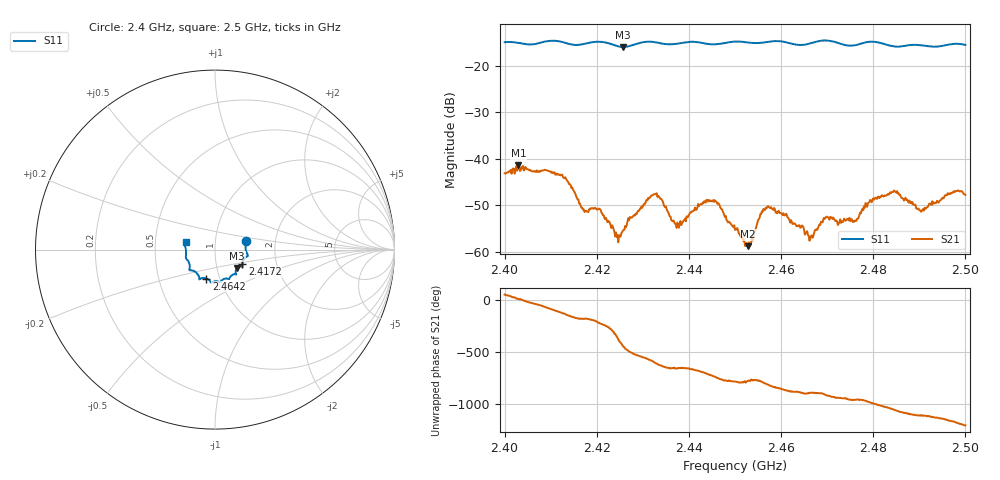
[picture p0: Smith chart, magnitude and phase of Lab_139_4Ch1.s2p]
# Hz S RI R 50
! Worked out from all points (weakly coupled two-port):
!   601 points, 2.4 GHz to 2.5 GHz, reference 50 ohm
!   highest |S21| = -41.40 dB at 2.403 GHz (marker M1); lowest = -58.8 dB at 2.4528 GHz (marker M2)
!   lowest |S11| = -15.9 dB at 2.4257 GHz (marker M3), VSWR 1.38, Z = 62.5 - j13.1 ohm
!   |S11| at or under -10 dB: start of sweep to end of sweep
!   S12 and S22 are empty: the file has one direction only
!   S11 on the Smith chart (normalised r, x): 2.4 GHz: 1.41, +0.14; 2.4172 GHz: 1.34, -0.22; 2.4642 GHz: 0.86, -0.29; 2.5 GHz: 0.72, +0.06
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2.4e9  0.1733 0.0491  0.00439 0.00542  0 0  0 0
2.403e9  0.1733 0.0338  0.00843 0.00115  0 0  0 0
2.412667e9  0.176 -0.0394  -0.00402 -0.0049  0 0  0 0
2.416667e9  0.153 -0.0748  -0.00298 4.62e-05  0 0  0 0
2.417167e9  0.1522 -0.0804  -0.00285 0.00014  0 0  0 0
2.420333e9  0.1543 -0.0972  -0.00226 0.00177  0 0  0 0
2.424333e9  0.1335 -0.0952  0.00143 0.000187  0 0  0 0
2.425667e9  0.1229 -0.1023  0.000246 -0.00165  0 0  0 0
2.433333e9  0.1127 -0.137  -0.000668 0.00392  0 0  0 0
2.437333e9  0.0854 -0.1505  0.000835 0.0016  0 0  0 0
2.444333e9  0.0608 -0.1609  0.00357 0.000314  0 0  0 0
2.45e9  0.0293 -0.1807  0.00078 -0.00154  0 0  0 0
2.452833e9  0.0182 -0.1778  0.000644 -0.000946  0 0  0 0
2.457167e9  -0.0145 -0.1812  -0.000106 -0.00309  0 0  0 0
2.464167e9  -0.0478 -0.1614  -0.00177 -0.000364  0 0  0 0
2.466667e9  -0.076 -0.1596  -0.00147 -0.000262  0 0  0 0
2.469667e9  -0.0878 -0.1663  -0.00229 0.000492  0 0  0 0
2.476e9  -0.1161 -0.1197  -0.00114 0.00184  0 0  0 0
2.478833e9  -0.1397 -0.1153  -0.000813 0.00321  0 0  0 0
2.483333e9  -0.1406 -0.0898  0.00286 0.00294  0 0  0 0
2.4905e9  -0.1624 -0.038  0.00244 -0.0012  0 0  0 0
2.5e9  -0.1633 0.0418  -0.00221 -0.00342  0 0  0 0
